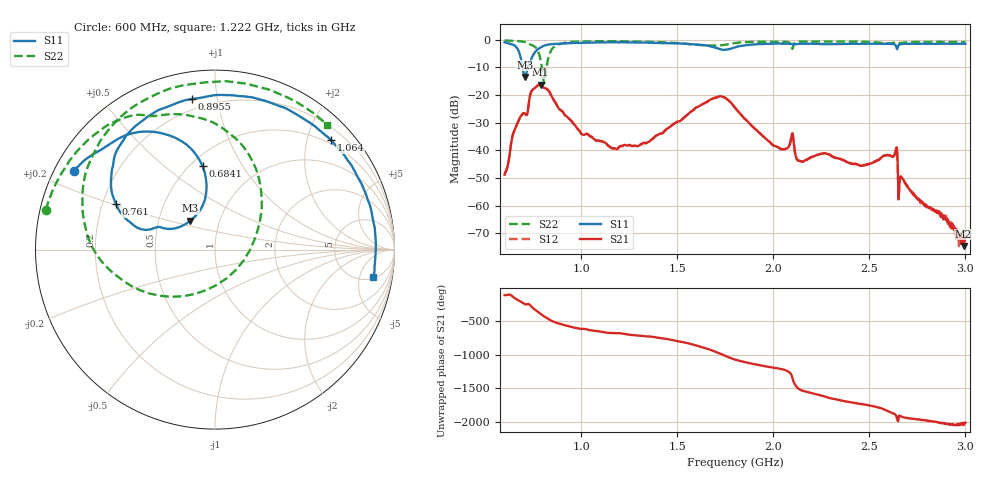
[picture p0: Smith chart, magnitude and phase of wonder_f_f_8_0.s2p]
#  HZ  S  RI  R  50.00
! Rohde & Schwarz ZVB8 2Ports - Version 2.81 - 1145.1010k08 SN: 100113
! Date: 2016-05-12 03:16:50
! Measurements: S11 S21 S12 S22
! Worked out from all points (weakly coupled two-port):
!   1000 points, 600 MHz to 3 GHz, reference 50 ohm
!   highest |S21| = -16.28 dB at 787.4 MHz (marker M1); lowest = -74.6 dB at 2.99 GHz (marker M2)
!   lowest |S11| = -13.5 dB at 705.7 MHz (marker M3), VSWR 1.54, Z = 36.2 + j12.2 ohm
!   |S11| at or under -10 dB: 693.8 MHz to 720.5 MHz (26.69 MHz wide, 3.77 % of centre)
!   |S22| runs from -15.8 to -0.3 dB; largest |S21 - S12| = 0.0014
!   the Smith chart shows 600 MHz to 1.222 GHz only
!   S11 on the Smith chart (normalised r, x): 600 MHz: 0.06, +0.26; 684.1 MHz: 0.57, +0.68; 761 MHz: 0.25, +0.21; 895.5 MHz: 0.14, +0.85; 1.064 GHz: 0.42, +2.46; 1.222 GHz: 5.47, -8.26
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6e8  -0.7863 0.438  -0.00115 -0.00344  -0.00124 -0.00334  -0.9426 0.222
6.840841e8  -0.0691 0.465  -0.0362 0.0196  -0.0362 0.0197  -0.7001 0.6175
7.057057e8  -0.1376 0.1617  -0.0191 0.0418  -0.0185 0.0419  -0.5681 0.7087
7.60961e8  -0.5524 0.2556  0.1211 0.0648  0.1206 0.0643  -0.0462 0.7225
7.873874e8  -0.5757 0.4366  0.1342 -0.0745  0.1337 -0.0737  0.2555 0.3402
8.066066e8  -0.5394 0.5656  0.0533 -0.1217  0.0526 -0.1218  0.1157 -0.1142
8.234234e8  -0.4768 0.6551  -0.0148 -0.1248  -0.0147 -0.1247  -0.3062 -0.2571
8.522523e8  -0.3438 0.7599  -0.0676 -0.0521  -0.0676 -0.052  -0.7091 0.0751
8.954955e8  -0.1304 0.8387  -0.0523 0.00225  -0.0523 0.00227  -0.6941 0.4964
1.001201e9  0.39 0.7892  -0.00563 0.0187  -0.00566 0.0187  -0.2642 0.8923
1.063664e9  0.6469 0.6092  0.00314 0.0158  0.00317 0.0158  0.0133 0.9359
1.222222e9  0.8825 -0.1501  0.0105 0.00659  0.0106 0.00664  0.624 0.6955
1.4e9  0.3442 -0.8047  0.0172 -0.00837  0.0172 -0.00841  0.9058 0.0552
1.685886e9  -0.6415 -0.3657  -0.065 0.057  -0.0649 0.0569  0.4496 -0.6443
1.801201e9  -0.7022 -0.1967  0.0577 0.00691  0.0577 0.00682  0.2558 -0.8337
1.976577e9  -0.723 0.4401  -0.00307 -0.0142  -0.0031 -0.0142  -0.29 -0.8688
2.2e9  0.0218 0.8451  -0.00534 -0.00538  -0.00529 -0.00546  -0.7476 -0.5473
2.423423e9  0.7548 0.3711  0.00111 0.0056  0.00113 0.00558  -0.9206 -0.0414
2.601201e9  0.747 -0.3893  0.00526 -0.0063  0.0053 -0.00615  -0.8025 0.3016
2.788589e9  0.1742 -0.8263  -0.00106 -2.89e-05  -0.00102 -1.1e-05  -0.6345 0.6506
2.99039e9  -0.5322 -0.6573  -5.07e-05 0.000179  -0.000139 0.000217  -0.2069 0.8802
3e9  -0.5536 -0.6382  -0.000219 0.000166  -0.000179 0.000223  -0.1822 0.8848
